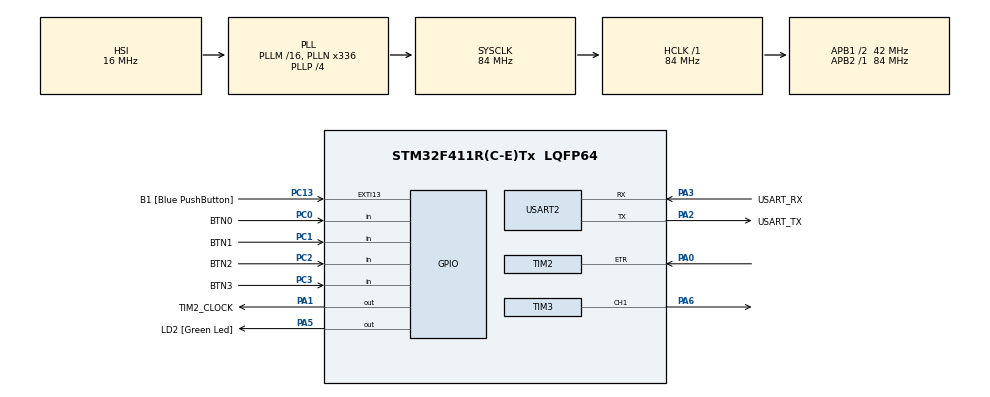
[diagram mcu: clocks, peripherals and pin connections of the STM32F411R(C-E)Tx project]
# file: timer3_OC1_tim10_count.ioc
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Mcu.Family=STM32F4
Mcu.Name=STM32F411R(C-E)Tx
Mcu.Package=LQFP64
NVIC.PriorityGroup=NVIC_PRIORITYGROUP_0
NVIC.TIM3_IRQn=true\:0\:0\:false\:false\:true\:true\:true\:true
NVIC.TIM4_IRQn=true\:0\:0\:false\:false\:true\:true\:true\:true
PA0-WKUP.Signal=S_TIM2_CH1_ETR
PA1.GPIO_Label=TIM2_CLOCK
PA1.Signal=GPIO_Output
PA13.GPIO_Label=TMS
PA13.Mode=Serial_Wire
PA13.Signal=SYS_JTMS-SWDIO
PA14.GPIO_Label=TCK
PA14.Mode=Serial_Wire
PA14.Signal=SYS_JTCK-SWCLK
PA2.GPIO_Label=USART_TX
PA2.Mode=Asynchronous
PA2.Signal=USART2_TX
PA3.GPIO_Label=USART_RX
PA3.Mode=Asynchronous
PA3.Signal=USART2_RX
PA5.GPIO_Label=LD2 [Green Led]
PA5.Signal=GPIO_Output
PA6.Signal=S_TIM3_CH1
PB3.GPIO_Label=SWO
PB3.Signal=SYS_JTDO-SWO
PC0.GPIO_Label=BTN0
PC0.Signal=GPIO_Input
PC1.GPIO_Label=BTN1
PC1.Signal=GPIO_Input
PC13-ANTI_TAMP.GPIO_Label=B1 [Blue PushButton]
PC13-ANTI_TAMP.GPIO_ModeDefaultEXTI=GPIO_MODE_IT_FALLING
PC13-ANTI_TAMP.Signal=GPXTI13
PC14-OSC32_IN.Signal=RCC_OSC32_IN
PC15-OSC32_OUT.Signal=RCC_OSC32_OUT
PC2.GPIO_Label=BTN2
PC2.Signal=GPIO_Input
PC3.GPIO_Label=BTN3
PC3.Signal=GPIO_Input
PH0\ -\ OSC_IN.Signal=RCC_OSC_IN
PH1\ -\ OSC_OUT.Signal=RCC_OSC_OUT
ProjectManager.HeapSize=0x200
ProjectManager.StackSize=0x400
ProjectManager.TargetToolchain=STM32CubeIDE
RCC.48MHZClocksFreq_Value=84000000
RCC.AHBFreq_Value=84000000
RCC.APB1CLKDivider=RCC_HCLK_DIV2
RCC.APB1Freq_Value=42000000
RCC.APB1TimFreq_Value=84000000
RCC.APB2Freq_Value=84000000
RCC.APB2TimFreq_Value=84000000
RCC.CortexFreq_Value=84000000
RCC.FLatency-AdvancedSettings=FLASH_LATENCY_2
RCC.HCLKFreq_Value=84000000
RCC.HSE_VALUE=8000000
RCC.HSI_VALUE=16000000
RCC.LSE_VALUE=32768
RCC.PLLN=336
RCC.PLLP=RCC_PLLP_DIV4
RCC.SYSCLKFreq_VALUE=84000000
RCC.SYSCLKSource=RCC_SYSCLKSOURCE_PLLCLK
RCC.VCOOutputFreq_Value=336000000
SH.S_TIM2_CH1_ETR.0=TIM2_ETR,ClockSourceETR_Mode2
SH.S_TIM3_CH1.0=TIM3_CH1,Output Compare1 CH1
TIM3.AutoReloadPreload=TIM_AUTORELOAD_PRELOAD_ENABLE
TIM3.Channel-Output\ Compare1\ CH1=TIM_CHANNEL_1
TIM3.OCMode_1=TIM_OCMODE_TOGGLE
TIM3.Period=10000-1
TIM3.Prescaler=8400-1
TIM3.Pulse-Output\ Compare1\ CH1=5000-1
TIM4.AutoReloadPreload=TIM_AUTORELOAD_PRELOAD_ENABLE
TIM4.Period=1000-1
TIM4.Prescaler=84-1
USART2.VirtualMode=VM_ASYNC
VP_TIM3_VS_ClockSourceINT.Mode=Internal
VP_TIM4_VS_ClockSourceINT.Mode=Internal
board=NUCLEO-F411RE

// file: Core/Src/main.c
/* USER CODE BEGIN Header */
/**
  ******************************************************************************
  * @file           : main.c
  * @brief          : Main program body
  ******************************************************************************
  * @attention
  *
  * Copyright (c) 2025 STMicroelectronics.
  * All rights reserved.
  *
  * This software is licensed under terms that can be found in the LICENSE file
  * in the root directory of this software component.
  * If no LICENSE file comes with this software, it is provided AS-IS.
  *
  ******************************************************************************
  */
/* USER CODE END Header */
#include "main.h"

/* USER CODE BEGIN Includes */
#include <stdio.h>
/* USER CODE END Includes */

/* USER CODE BEGIN PD */
#ifdef __GNUC__
/* With GCC, small printf (option LD Linker->Libraries->Small printf
   set to 'Yes') calls __io_putchar() */
#define PUTCHAR_PROTOTYPE int __io_putchar(int ch)
#else
#define PUTCHAR_PROTOTYPE int fputc(int ch, FILE *f)
#endif /* __GNUC__ */
/* USER CODE END PD */

TIM_HandleTypeDef htim2;
TIM_HandleTypeDef htim3;
TIM_HandleTypeDef htim4;

UART_HandleTypeDef huart2;

/* USER CODE BEGIN PV */
volatile int time3SecFlag = 0;
volatile unsigned int time3SecCnt=0; //1sec
volatile int time4MsFlag = 0;
volatile unsigned int time4MsCnt; //1ms
/* USER CODE END PV */

void SystemClock_Config(void);
static void MX_GPIO_Init(void);
static void MX_USART2_UART_Init(void);
static void MX_TIM3_Init(void);
static void MX_TIM2_Init(void);
static void MX_TIM4_Init(void);

int main(void)
{

  /* USER CODE BEGIN 1 */
	//int cnt=0;
	//static unsigned int time3Cnt =0;
  /* USER CODE END 1 */

  /* MCU Configuration--------------------------------------------------------*/

  /* Reset of all peripherals, Initializes the Flash interface and the Systick. */
  HAL_Init();

  /* Configure the system clock */
  SystemClock_Config();

  /* Initialize all configured peripherals */
  MX_GPIO_Init();
  MX_USART2_UART_Init();
  MX_TIM3_Init();
  MX_TIM2_Init();
  MX_TIM4_Init();
  /* USER CODE BEGIN 2 */
  printf("Main Start!!\r\n");
  if(HAL_TIM_Base_Start_IT(&htim3) != HAL_OK)
	  Error_Handler();
  if(HAL_TIM_OC_Start_IT(&htim3,TIM_CHANNEL_1) != HAL_OK)
	  Error_Handler();
  if(HAL_TIM_Base_Start(&htim2) != HAL_OK)
  	  Error_Handler();
  if(HAL_TIM_Base_Start_IT(&htim4) != HAL_OK)
  	  Error_Handler();
  /* USER CODE END 2 */

  /* Infinite loop */
  /* USER CODE BEGIN WHILE */
  while (1)
  {
	  if(time3SecFlag)
	  {
		  //HAL_GPIO_TogglePin(LD2_GPIO_Port,LD2_Pin);
		  time3SecFlag = 0;
		  printf("time3Seccnt : %d\r\n",time3SecCnt);
		  printf("timer2 counter : %lu\r\n",TIM2 ->CNT);
	  }
	  if(time4MsFlag)
	  {
		  if(!(time4MsCnt%100))
		  {
			  HAL_GPIO_TogglePin(TIM2_CLOCK_GPIO_Port,TIM2_CLOCK_Pin);
		  }
		time4MsFlag=0;
	  }
    /* USER CODE END WHILE */

  }
}

void SystemClock_Config(void)
{
  RCC_OscInitTypeDef RCC_OscInitStruct = {0};
  RCC_ClkInitTypeDef RCC_ClkInitStruct = {0};

  /** Configure the main internal regulator output voltage
  */
  __HAL_RCC_PWR_CLK_ENABLE();
  __HAL_PWR_VOLTAGESCALING_CONFIG(PWR_REGULATOR_VOLTAGE_SCALE1);

  /** Initializes the RCC Oscillators according to the specified parameters
  * in the RCC_OscInitTypeDef structure.
  */
  RCC_OscInitStruct.OscillatorType = RCC_OSCILLATORTYPE_HSI;
  RCC_OscInitStruct.HSIState = RCC_HSI_ON;
  RCC_OscInitStruct.HSICalibrationValue = RCC_HSICALIBRATION_DEFAULT;
  RCC_OscInitStruct.PLL.PLLState = RCC_PLL_ON;
  RCC_OscInitStruct.PLL.PLLSource = RCC_PLLSOURCE_HSI;
  RCC_OscInitStruct.PLL.PLLM = 16;
  RCC_OscInitStruct.PLL.PLLN = 336;
  RCC_OscInitStruct.PLL.PLLP = RCC_PLLP_DIV4;
  RCC_OscInitStruct.PLL.PLLQ = 4;
  if (HAL_RCC_OscConfig(&RCC_OscInitStruct) != HAL_OK)
  {
    Error_Handler();
  }

  /** Initializes the CPU, AHB and APB buses clocks
  */
  RCC_ClkInitStruct.ClockType = RCC_CLOCKTYPE_HCLK|RCC_CLOCKTYPE_SYSCLK
                              |RCC_CLOCKTYPE_PCLK1|RCC_CLOCKTYPE_PCLK2;
  RCC_ClkInitStruct.SYSCLKSource = RCC_SYSCLKSOURCE_PLLCLK;
  RCC_ClkInitStruct.AHBCLKDivider = RCC_SYSCLK_DIV1;
  RCC_ClkInitStruct.APB1CLKDivider = RCC_HCLK_DIV2;
  RCC_ClkInitStruct.APB2CLKDivider = RCC_HCLK_DIV1;

  if (HAL_RCC_ClockConfig(&RCC_ClkInitStruct, FLASH_LATENCY_2) != HAL_OK)
  {
    Error_Handler();
  }
}

static void MX_TIM2_Init(void)
{

  TIM_ClockConfigTypeDef sClockSourceConfig = {0};
  TIM_MasterConfigTypeDef sMasterConfig = {0};

  htim2.Instance = TIM2;
  htim2.Init.Prescaler = 0;
  htim2.Init.CounterMode = TIM_COUNTERMODE_UP;
  htim2.Init.Period = 4294967295;
  htim2.Init.ClockDivision = TIM_CLOCKDIVISION_DIV1;
  htim2.Init.AutoReloadPreload = TIM_AUTORELOAD_PRELOAD_DISABLE;
  if (HAL_TIM_Base_Init(&htim2) != HAL_OK)
  {
    Error_Handler();
  }
  sClockSourceConfig.ClockSource = TIM_CLOCKSOURCE_ETRMODE2;
  sClockSourceConfig.ClockPolarity = TIM_CLOCKPOLARITY_NONINVERTED;
  sClockSourceConfig.ClockPrescaler = TIM_CLOCKPRESCALER_DIV1;
  sClockSourceConfig.ClockFilter = 0;
  if (HAL_TIM_ConfigClockSource(&htim2, &sClockSourceConfig) != HAL_OK)
  {
    Error_Handler();
  }
  sMasterConfig.MasterOutputTrigger = TIM_TRGO_RESET;
  sMasterConfig.MasterSlaveMode = TIM_MASTERSLAVEMODE_DISABLE;
  if (HAL_TIMEx_MasterConfigSynchronization(&htim2, &sMasterConfig) != HAL_OK)
  {
    Error_Handler();
  }

}

static void MX_TIM3_Init(void)
{

  TIM_ClockConfigTypeDef sClockSourceConfig = {0};
  TIM_MasterConfigTypeDef sMasterConfig = {0};
  TIM_OC_InitTypeDef sConfigOC = {0};

  htim3.Instance = TIM3;
  htim3.Init.Prescaler = 8400-1;
  htim3.Init.CounterMode = TIM_COUNTERMODE_UP;
  htim3.Init.Period = 10000-1;
  htim3.Init.ClockDivision = TIM_CLOCKDIVISION_DIV1;
  htim3.Init.AutoReloadPreload = TIM_AUTORELOAD_PRELOAD_ENABLE;
  if (HAL_TIM_Base_Init(&htim3) != HAL_OK)
  {
    Error_Handler();
  }
  sClockSourceConfig.ClockSource = TIM_CLOCKSOURCE_INTERNAL;
  if (HAL_TIM_ConfigClockSource(&htim3, &sClockSourceConfig) != HAL_OK)
  {
    Error_Handler();
  }
  if (HAL_TIM_OC_Init(&htim3) != HAL_OK)
  {
    Error_Handler();
  }
  sMasterConfig.MasterOutputTrigger = TIM_TRGO_RESET;
  sMasterConfig.MasterSlaveMode = TIM_MASTERSLAVEMODE_DISABLE;
  if (HAL_TIMEx_MasterConfigSynchronization(&htim3, &sMasterConfig) != HAL_OK)
  {
    Error_Handler();
  }
  sConfigOC.OCMode = TIM_OCMODE_TOGGLE;
  sConfigOC.Pulse = 5000-1;
  sConfigOC.OCPolarity = TIM_OCPOLARITY_HIGH;
  sConfigOC.OCFastMode = TIM_OCFAST_DISABLE;
  if (HAL_TIM_OC_ConfigChannel(&htim3, &sConfigOC, TIM_CHANNEL_1) != HAL_OK)
  {
    Error_Handler();
  }
  HAL_TIM_MspPostInit(&htim3);

}

static void MX_TIM4_Init(void)
{

  TIM_ClockConfigTypeDef sClockSourceConfig = {0};
  TIM_MasterConfigTypeDef sMasterConfig = {0};

  htim4.Instance = TIM4;
  htim4.Init.Prescaler = 84-1;
  htim4.Init.CounterMode = TIM_COUNTERMODE_UP;
  htim4.Init.Period = 1000-1;
  htim4.Init.ClockDivision = TIM_CLOCKDIVISION_DIV1;
  htim4.Init.AutoReloadPreload = TIM_AUTORELOAD_PRELOAD_ENABLE;
  if (HAL_TIM_Base_Init(&htim4) != HAL_OK)
  {
    Error_Handler();
  }
  sClockSourceConfig.ClockSource = TIM_CLOCKSOURCE_INTERNAL;
  if (HAL_TIM_ConfigClockSource(&htim4, &sClockSourceConfig) != HAL_OK)
  {
    Error_Handler();
  }
  sMasterConfig.MasterOutputTrigger = TIM_TRGO_RESET;
  sMasterConfig.MasterSlaveMode = TIM_MASTERSLAVEMODE_DISABLE;
  if (HAL_TIMEx_MasterConfigSynchronization(&htim4, &sMasterConfig) != HAL_OK)
  {
    Error_Handler();
  }

}

static void MX_USART2_UART_Init(void)
{

  huart2.Instance = USART2;
  huart2.Init.BaudRate = 115200;
  huart2.Init.WordLength = UART_WORDLENGTH_8B;
  huart2.Init.StopBits = UART_STOPBITS_1;
  huart2.Init.Parity = UART_PARITY_NONE;
  huart2.Init.Mode = UART_MODE_TX_RX;
  huart2.Init.HwFlowCtl = UART_HWCONTROL_NONE;
  huart2.Init.OverSampling = UART_OVERSAMPLING_16;
  if (HAL_UART_Init(&huart2) != HAL_OK)
  {
    Error_Handler();
  }

}

static void MX_GPIO_Init(void)
{
  GPIO_InitTypeDef GPIO_InitStruct = {0};

  /* GPIO Ports Clock Enable */
  __HAL_RCC_GPIOC_CLK_ENABLE();
  __HAL_RCC_GPIOH_CLK_ENABLE();
  __HAL_RCC_GPIOA_CLK_ENABLE();
  __HAL_RCC_GPIOB_CLK_ENABLE();

  /*Configure GPIO pin Output Level */
  HAL_GPIO_WritePin(GPIOA, TIM2_CLOCK_Pin|LD2_Pin, GPIO_PIN_RESET);

  /*Configure GPIO pin : B1_Pin */
  GPIO_InitStruct.Pin = B1_Pin;
  GPIO_InitStruct.Mode = GPIO_MODE_IT_FALLING;
  GPIO_InitStruct.Pull = GPIO_NOPULL;
  HAL_GPIO_Init(B1_GPIO_Port, &GPIO_InitStruct);

  /*Configure GPIO pins : BTN0_Pin BTN1_Pin BTN2_Pin BTN3_Pin */
  GPIO_InitStruct.Pin = BTN0_Pin|BTN1_Pin|BTN2_Pin|BTN3_Pin;
  GPIO_InitStruct.Mode = GPIO_MODE_INPUT;
  GPIO_InitStruct.Pull = GPIO_NOPULL;
  HAL_GPIO_Init(GPIOC, &GPIO_InitStruct);

  /*Configure GPIO pins : TIM2_CLOCK_Pin LD2_Pin */
  GPIO_InitStruct.Pin = TIM2_CLOCK_Pin|LD2_Pin;
  GPIO_InitStruct.Mode = GPIO_MODE_OUTPUT_PP;
  GPIO_InitStruct.Pull = GPIO_NOPULL;
  GPIO_InitStruct.Speed = GPIO_SPEED_FREQ_LOW;
  HAL_GPIO_Init(GPIOA, &GPIO_InitStruct);

}

/* USER CODE BEGIN 4 */
/**
  * @brief  Retargets the C library printf function to the USART.
  * @param  None
  * @retval None
  */
PUTCHAR_PROTOTYPE
{
  /* Place your implementation of fputc here */
  /* e.g. write a character to the USART6 and Loop until the end of transmission */
  HAL_UART_Transmit(&huart2, (uint8_t *)&ch, 1, 0xFFFF);

  return ch;
}
void HAL_TIM_PeriodElapsedCallback(TIM_HandleTypeDef *htim)
{
	if(htim->Instance == TIM3)
	{
		time3SecCnt++;
		time3SecFlag=1;
//		HAL_GPIO_TogglePin(GPIOB,LD2_Pin);
	}
	if(htim->Instance == TIM4)
	{
		time4MsCnt++;
		time4MsFlag=1;
	}
}
void HAL_TIM_OC_DelayElapsedCallback(TIM_HandleTypeDef *htim)
{
	if(htim->Instance == TIM3)
	{
		HAL_GPIO_TogglePin(GPIOA,LD2_Pin);
	}
}
/* USER CODE END 4 */

void Error_Handler(void)
{
  __disable_irq();
  while (1)
  {
  }
}
